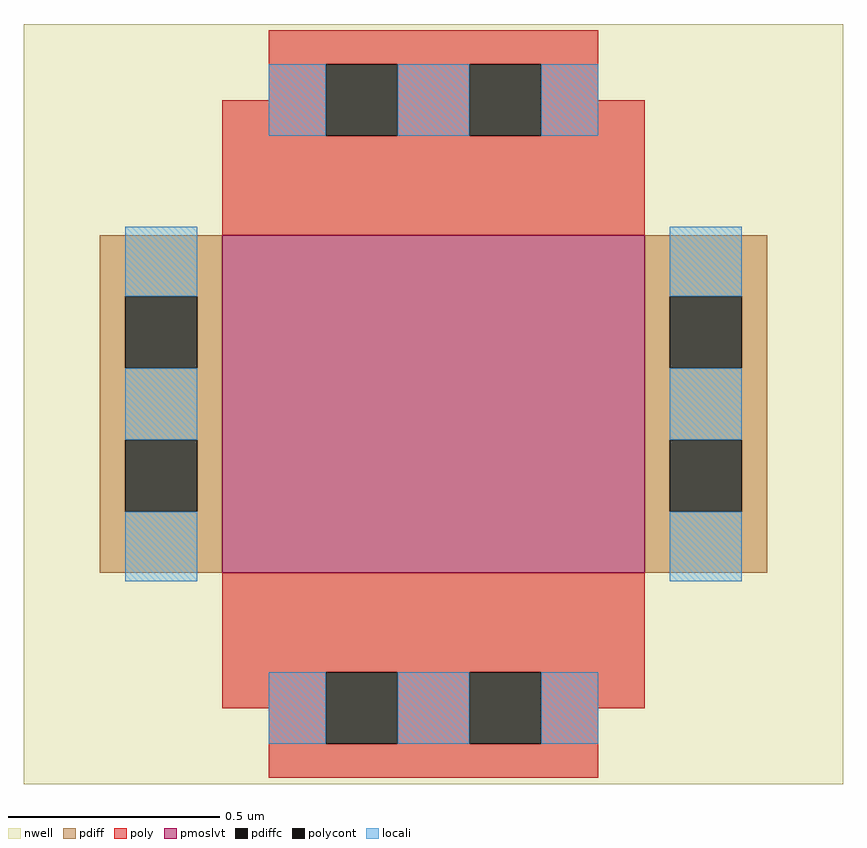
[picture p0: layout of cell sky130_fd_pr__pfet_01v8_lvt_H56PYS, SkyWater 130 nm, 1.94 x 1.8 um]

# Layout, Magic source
magic
tech sky130A
magscale 1 2
<< nwell >>
rect -194 -180 194 180
<< pmoslvt >>
rect -100 -80 100 80
<< pdiff >>
rect -158 51 -100 80
rect -158 17 -146 51
rect -112 17 -100 51
rect -158 -17 -100 17
rect -158 -51 -146 -17
rect -112 -51 -100 -17
rect -158 -80 -100 -51
rect 100 51 158 80
rect 100 17 112 51
rect 146 17 158 51
rect 100 -17 158 17
rect 100 -51 112 -17
rect 146 -51 158 -17
rect 100 -80 158 -51
<< pdiffc >>
rect -146 17 -112 51
rect -146 -51 -112 -17
rect 112 17 146 51
rect 112 -51 146 -17
<< poly >>
rect -78 161 78 177
rect -78 144 -51 161
rect -100 127 -51 144
rect -17 127 17 161
rect 51 144 78 161
rect 51 127 100 144
rect -100 80 100 127
rect -100 -127 100 -80
rect -100 -144 -51 -127
rect -78 -161 -51 -144
rect -17 -161 17 -127
rect 51 -144 100 -127
rect 51 -161 78 -144
rect -78 -177 78 -161
<< polycont >>
rect -51 127 -17 161
rect 17 127 51 161
rect -51 -161 -17 -127
rect 17 -161 51 -127
<< locali >>
rect -78 127 -51 161
rect -17 127 17 161
rect 51 127 78 161
rect -146 51 -112 84
rect -146 -17 -112 17
rect -146 -84 -112 -51
rect 112 51 146 84
rect 112 -17 146 17
rect 112 -84 146 -51
rect -78 -161 -51 -127
rect -17 -161 17 -127
rect 51 -161 78 -127
<< end >>
